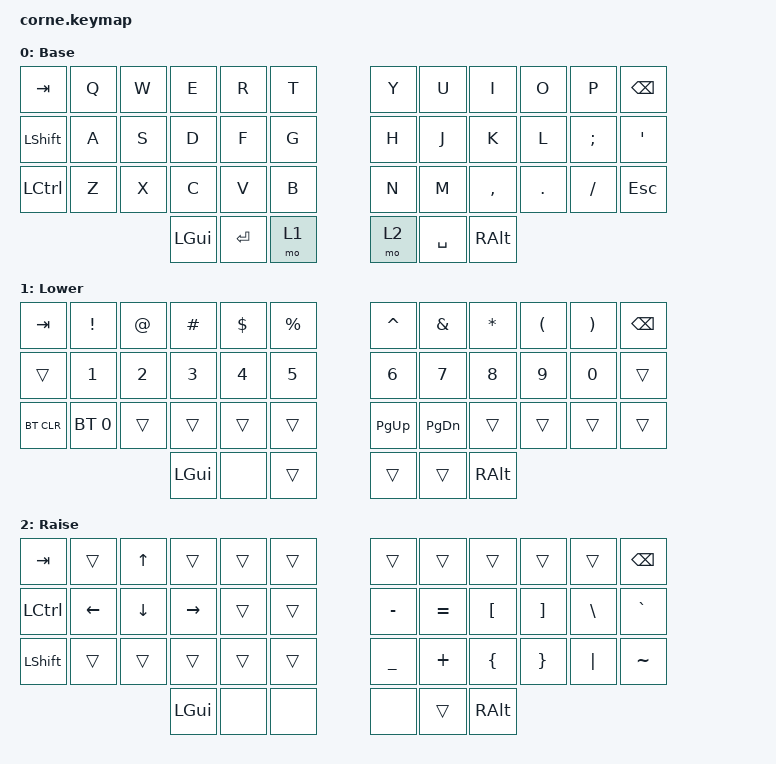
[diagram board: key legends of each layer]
/*
 * Copyright (c) 2020 The ZMK Contributors
 *
 * SPDX-License-Identifier: MIT
 */

#include <behaviors.dtsi>
#include <dt-bindings/zmk/bt.h>
#include <dt-bindings/zmk/keys.h>

/ {
    combos {
        compatible = "zmk,combos";

        discordmsg_down {
            bindings = <&kp LA(LS(DOWN_ARROW))>;
            key-positions = <29>;
            layers = <1>;
        };

        discordmsg_up {
            bindings = <&kp LS(LA(UP_ARROW))>;
            key-positions = <28>;
            layers = <1>;
        };
    };

    keymap {
        compatible = "zmk,keymap";

        default_layer {
            // -----------------------------------------------------------------------------------------
            // |  TAB |  Q  |  W  |  E  |  R  |  T  |   |  Y  |  U   |  I  |  O  |  P  | BKSP |
            // | CTRL |  A  |  S  |  D  |  F  |  G  |   |  H  |  J   |  K  |  L  |  ;  |  '   |
            // | SHFT |  Z  |  X  |  C  |  V  |  B  |   |  N  |  M   |  ,  |  .  |  /  | ESC  |
            //                    | GUI | LWR | SPC |   | ENT | RSE  | ALT |

            display-name = "Base";
            bindings = <
&kp TAB         &kp Q  &kp W  &kp E     &kp R       &kp T    &kp Y  &kp U      &kp I      &kp O    &kp P     &kp BSPC
&kp LEFT_SHIFT  &kp A  &kp S  &kp D     &kp F       &kp G    &kp H  &kp J      &kp K      &kp L    &kp SEMI  &kp SQT
&kp LCTRL       &kp Z  &kp X  &kp C     &kp V       &kp B    &kp N  &kp M      &kp COMMA  &kp DOT  &kp FSLH  &kp ESC
                              &kp LGUI  &kp RETURN  &mo 1    &mo 2  &kp SPACE  &kp RALT
            >;
        };

        lower_layer {
            // -----------------------------------------------------------------------------------------
            // |  TAB |  1  |  2  |  3  |  4  |  5  |   |  6  |  7  |  8  |  9  |  0  | BKSP |
            // | BTCLR| BT1 | BT2 | BT3 | BT4 | BT5 |   | LFT | DWN |  UP | RGT |     |      |
            // | SHFT |     |     |     |     |     |   |     |     |     |     |     |      |
            //                    | GUI |     | SPC |   | ENT |     | ALT |

            display-name = "Lower";
            bindings = <
&kp TAB     &kp EXCL      &kp AT        &kp POUND     &kp DOLLAR    &kp PERCENT    &kp CARET     &kp AMPERSAND  &kp ASTRK     &kp LEFT_PARENTHESIS  &kp RIGHT_PARENTHESIS  &kp BSPC
&trans      &kp NUMBER_1  &kp NUMBER_2  &kp NUMBER_3  &kp NUMBER_4  &kp N5         &kp NUMBER_6  &kp NUMBER_7   &kp NUMBER_8  &kp NUMBER_9          &kp NUMBER_0           &trans
&bt BT_CLR  &bt BT_SEL 0  &trans        &trans        &trans        &trans         &kp PAGE_UP   &kp PAGE_DOWN  &trans        &trans                &trans                 &trans
                                        &kp LGUI      &none         &trans         &trans        &trans         &kp RALT
            >;
        };

        raise_layer {
            // -----------------------------------------------------------------------------------------
            // |  TAB |  !  |  @  |  #  |  $  |  %  |   |  ^  |  &  |  *  |  (  |  )  | BKSP |
            // | CTRL |     |     |     |     |     |   |  -  |  =  |  [  |  ]  |  \  |  `   |
            // | SHFT |     |     |     |     |     |   |  _  |  +  |  {  |  }  | "|" |  ~   |
            //                    | GUI |     | SPC |   | ENT |     | ALT |

            display-name = "Raise";
            bindings = <
&kp TAB    &trans    &kp UP_ARROW  &trans     &trans  &trans    &trans     &trans     &trans    &trans    &trans    &kp BSPC
&kp LCTRL  &kp LEFT  &kp DOWN      &kp RIGHT  &trans  &trans    &kp MINUS  &kp EQUAL  &kp LBKT  &kp RBKT  &kp BSLH  &kp GRAVE
&kp LSHFT  &trans    &trans        &trans     &trans  &trans    &kp UNDER  &kp PLUS   &kp LBRC  &kp RBRC  &kp PIPE  &kp TILDE
                                   &kp LGUI   &none   &none     &none      &trans     &kp RALT
            >;
        };
    };
};
